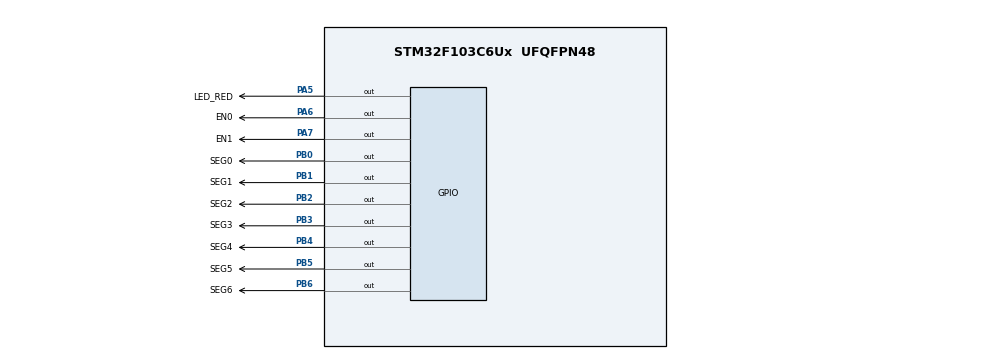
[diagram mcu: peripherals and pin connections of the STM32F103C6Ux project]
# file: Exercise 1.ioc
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Mcu.Family=STM32F1
Mcu.Name=STM32F103C6Ux
Mcu.Package=UFQFPN48
NVIC.PriorityGroup=NVIC_PRIORITYGROUP_4
NVIC.TIM2_IRQn=true\:0\:0\:false\:false\:true\:true\:true
PA5.GPIO_Label=LED_RED
PA5.Signal=GPIO_Output
PA6.GPIO_Label=EN0
PA6.Signal=GPIO_Output
PA7.GPIO_Label=EN1
PA7.Signal=GPIO_Output
PB0.GPIO_Label=SEG0
PB0.Signal=GPIO_Output
PB1.GPIO_Label=SEG1
PB1.Signal=GPIO_Output
PB2.GPIO_Label=SEG2
PB2.Signal=GPIO_Output
PB3.GPIO_Label=SEG3
PB3.Signal=GPIO_Output
PB4.GPIO_Label=SEG4
PB4.Signal=GPIO_Output
PB5.GPIO_Label=SEG5
PB5.Signal=GPIO_Output
PB6.GPIO_Label=SEG6
PB6.Signal=GPIO_Output
ProjectManager.HeapSize=0x200
ProjectManager.StackSize=0x400
ProjectManager.TargetToolchain=STM32CubeIDE
RCC.APB1Freq_Value=8000000
RCC.APB2Freq_Value=8000000
TIM2.Period=9
TIM2.Prescaler=7999
VP_SYS_VS_ND.Mode=No_Debug
VP_TIM2_VS_ClockSourceINT.Mode=Internal
board=custom

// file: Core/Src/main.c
/* USER CODE BEGIN Header */
/**
  ******************************************************************************
  * @file           : main.c
  * @brief          : Main program body
  ******************************************************************************
  * @attention
  *
  * <h2><center>&copy; Copyright (c) 2022 STMicroelectronics.
  * All rights reserved.</center></h2>
  *
  * This software component is licensed by ST under BSD 3-Clause license,
  * the "License"; You may not use this file except in compliance with the
  * License. You may obtain a copy of the License at:
  *                        opensource.org/licenses/BSD-3-Clause
  *
  ******************************************************************************
  */
/* USER CODE END Header */
#include "main.h"

TIM_HandleTypeDef htim2;

void SystemClock_Config(void);
static void MX_GPIO_Init(void);
static void MX_TIM2_Init(void);

/* USER CODE BEGIN 0 */
void display7SEG(int num)
{
	if (num == 0)
	{
		HAL_GPIO_WritePin (GPIOB, SEG0_Pin|SEG1_Pin|SEG2_Pin|SEG3_Pin|SEG4_Pin|SEG5_Pin, GPIO_PIN_RESET);
		HAL_GPIO_WritePin (GPIOB, SEG6_Pin, GPIO_PIN_SET);
	}
	else if (num == 1)
	{
		HAL_GPIO_WritePin (GPIOB, SEG1_Pin|SEG2_Pin, GPIO_PIN_RESET);
		HAL_GPIO_WritePin (GPIOB, SEG0_Pin|SEG3_Pin|SEG4_Pin|SEG5_Pin|SEG6_Pin, GPIO_PIN_SET);
	}
	else if (num == 2)
	{
		HAL_GPIO_WritePin (GPIOB, SEG0_Pin|SEG1_Pin|SEG3_Pin|SEG4_Pin|SEG6_Pin, GPIO_PIN_RESET);
		HAL_GPIO_WritePin (GPIOB, SEG2_Pin|SEG5_Pin, GPIO_PIN_SET);
	}
	else if (num == 3)
	{
		HAL_GPIO_WritePin (GPIOB, SEG0_Pin|SEG1_Pin|SEG2_Pin|SEG3_Pin|SEG6_Pin, GPIO_PIN_RESET);
		HAL_GPIO_WritePin (GPIOB, SEG4_Pin|SEG5_Pin, GPIO_PIN_SET);
	}
	else if (num == 4)
	{
		HAL_GPIO_WritePin (GPIOB, SEG1_Pin|SEG2_Pin|SEG5_Pin|SEG6_Pin, GPIO_PIN_RESET);
		HAL_GPIO_WritePin (GPIOB, SEG0_Pin|SEG3_Pin|SEG4_Pin, GPIO_PIN_SET);
	}
	else if (num == 5)
	{
		HAL_GPIO_WritePin (GPIOB, SEG0_Pin|SEG2_Pin|SEG3_Pin|SEG5_Pin|SEG6_Pin, GPIO_PIN_RESET);
		HAL_GPIO_WritePin (GPIOB, SEG1_Pin|SEG4_Pin, GPIO_PIN_SET);
	}
	else if (num == 6)
	{
		HAL_GPIO_WritePin (GPIOB, SEG0_Pin|SEG2_Pin|SEG3_Pin|SEG4_Pin|SEG5_Pin|SEG6_Pin, GPIO_PIN_RESET);
		HAL_GPIO_WritePin (GPIOB, SEG1_Pin, GPIO_PIN_SET);
	}
	else if (num == 7)
	{
		HAL_GPIO_WritePin (GPIOB, SEG0_Pin|SEG1_Pin|SEG2_Pin, GPIO_PIN_RESET);
		HAL_GPIO_WritePin (GPIOB, SEG3_Pin|SEG4_Pin|SEG5_Pin|SEG6_Pin, GPIO_PIN_SET);
	}
	else if (num == 8)
	{
		HAL_GPIO_WritePin (GPIOB, SEG0_Pin|SEG1_Pin|SEG2_Pin|SEG3_Pin|SEG4_Pin|SEG5_Pin|SEG6_Pin, GPIO_PIN_RESET);
	}
	else
	{
		HAL_GPIO_WritePin (GPIOB, SEG0_Pin|SEG1_Pin|SEG2_Pin|SEG3_Pin|SEG5_Pin|SEG6_Pin, GPIO_PIN_RESET);
		HAL_GPIO_WritePin (GPIOB, SEG4_Pin, GPIO_PIN_SET);
	}
}

/* USER CODE END 0 */

int main(void)
{

  /* MCU Configuration--------------------------------------------------------*/

  /* Reset of all peripherals, Initializes the Flash interface and the Systick. */
  HAL_Init();

  /* Configure the system clock */
  SystemClock_Config();

  /* Initialize all configured peripherals */
  MX_GPIO_Init();
  MX_TIM2_Init();
  /* USER CODE BEGIN 2 */
  HAL_TIM_Base_Start_IT(&htim2);
  /* USER CODE END 2 */

  /* Infinite loop */
  while (1)
  {

  }
}

void SystemClock_Config(void)
{
  RCC_OscInitTypeDef RCC_OscInitStruct = {0};
  RCC_ClkInitTypeDef RCC_ClkInitStruct = {0};

  /** Initializes the RCC Oscillators according to the specified parameters
  * in the RCC_OscInitTypeDef structure.
  */
  RCC_OscInitStruct.OscillatorType = RCC_OSCILLATORTYPE_HSI;
  RCC_OscInitStruct.HSIState = RCC_HSI_ON;
  RCC_OscInitStruct.HSICalibrationValue = RCC_HSICALIBRATION_DEFAULT;
  RCC_OscInitStruct.PLL.PLLState = RCC_PLL_NONE;
  if (HAL_RCC_OscConfig(&RCC_OscInitStruct) != HAL_OK)
  {
    Error_Handler();
  }
  /** Initializes the CPU, AHB and APB buses clocks
  */
  RCC_ClkInitStruct.ClockType = RCC_CLOCKTYPE_HCLK|RCC_CLOCKTYPE_SYSCLK
                              |RCC_CLOCKTYPE_PCLK1|RCC_CLOCKTYPE_PCLK2;
  RCC_ClkInitStruct.SYSCLKSource = RCC_SYSCLKSOURCE_HSI;
  RCC_ClkInitStruct.AHBCLKDivider = RCC_SYSCLK_DIV1;
  RCC_ClkInitStruct.APB1CLKDivider = RCC_HCLK_DIV1;
  RCC_ClkInitStruct.APB2CLKDivider = RCC_HCLK_DIV1;

  if (HAL_RCC_ClockConfig(&RCC_ClkInitStruct, FLASH_LATENCY_0) != HAL_OK)
  {
    Error_Handler();
  }
}

static void MX_TIM2_Init(void)
{

  TIM_ClockConfigTypeDef sClockSourceConfig = {0};
  TIM_MasterConfigTypeDef sMasterConfig = {0};

  htim2.Instance = TIM2;
  htim2.Init.Prescaler = 7999;
  htim2.Init.CounterMode = TIM_COUNTERMODE_UP;
  htim2.Init.Period = 9;
  htim2.Init.ClockDivision = TIM_CLOCKDIVISION_DIV1;
  htim2.Init.AutoReloadPreload = TIM_AUTORELOAD_PRELOAD_DISABLE;
  if (HAL_TIM_Base_Init(&htim2) != HAL_OK)
  {
    Error_Handler();
  }
  sClockSourceConfig.ClockSource = TIM_CLOCKSOURCE_INTERNAL;
  if (HAL_TIM_ConfigClockSource(&htim2, &sClockSourceConfig) != HAL_OK)
  {
    Error_Handler();
  }
  sMasterConfig.MasterOutputTrigger = TIM_TRGO_RESET;
  sMasterConfig.MasterSlaveMode = TIM_MASTERSLAVEMODE_DISABLE;
  if (HAL_TIMEx_MasterConfigSynchronization(&htim2, &sMasterConfig) != HAL_OK)
  {
    Error_Handler();
  }

}

static void MX_GPIO_Init(void)
{
  GPIO_InitTypeDef GPIO_InitStruct = {0};

  /* GPIO Ports Clock Enable */
  __HAL_RCC_GPIOA_CLK_ENABLE();
  __HAL_RCC_GPIOB_CLK_ENABLE();

  /*Configure GPIO pin Output Level */
  HAL_GPIO_WritePin(GPIOA, LED_RED_Pin|EN0_Pin|EN1_Pin, GPIO_PIN_RESET);

  /*Configure GPIO pin Output Level */
  HAL_GPIO_WritePin(GPIOB, SEG0_Pin|SEG1_Pin|SEG2_Pin|SEG3_Pin
                          |SEG4_Pin|SEG5_Pin|SEG6_Pin, GPIO_PIN_RESET);

  /*Configure GPIO pins : LED_RED_Pin EN0_Pin EN1_Pin */
  GPIO_InitStruct.Pin = LED_RED_Pin|EN0_Pin|EN1_Pin;
  GPIO_InitStruct.Mode = GPIO_MODE_OUTPUT_PP;
  GPIO_InitStruct.Pull = GPIO_NOPULL;
  GPIO_InitStruct.Speed = GPIO_SPEED_FREQ_LOW;
  HAL_GPIO_Init(GPIOA, &GPIO_InitStruct);

  /*Configure GPIO pins : SEG0_Pin SEG1_Pin SEG2_Pin SEG3_Pin
                           SEG4_Pin SEG5_Pin SEG6_Pin */
  GPIO_InitStruct.Pin = SEG0_Pin|SEG1_Pin|SEG2_Pin|SEG3_Pin
                          |SEG4_Pin|SEG5_Pin|SEG6_Pin;
  GPIO_InitStruct.Mode = GPIO_MODE_OUTPUT_PP;
  GPIO_InitStruct.Pull = GPIO_NOPULL;
  GPIO_InitStruct.Speed = GPIO_SPEED_FREQ_LOW;
  HAL_GPIO_Init(GPIOB, &GPIO_InitStruct);

}

/* USER CODE BEGIN 4 */
int ledEnable = 0; // To know which Led is enable

int counter = 50; //The switching time between 2 LEDS is a half of second
void HAL_TIM_PeriodElapsedCallback(TIM_HandleTypeDef *htim){
	if (counter > 0){
	counter--;
	if(counter <= 0){
		counter = 50;

		if (ledEnable == 0){
			HAL_GPIO_WritePin(EN0_GPIO_Port, EN0_Pin, RESET);
			HAL_GPIO_WritePin(EN1_GPIO_Port, EN1_Pin, SET);
			display7SEG(1);
			ledEnable = 1;
		}

		else{
			HAL_GPIO_WritePin(EN0_GPIO_Port, EN0_Pin, SET);
			HAL_GPIO_WritePin(EN1_GPIO_Port, EN1_Pin, RESET);
			display7SEG(2);
			ledEnable = 0;
		}
	}
}
}

/* USER CODE END 4 */

void Error_Handler(void)
{
  __disable_irq();
  while (1)
  {
  }
}

/************************ (C) COPYRIGHT STMicroelectronics *****END OF FILE****/
